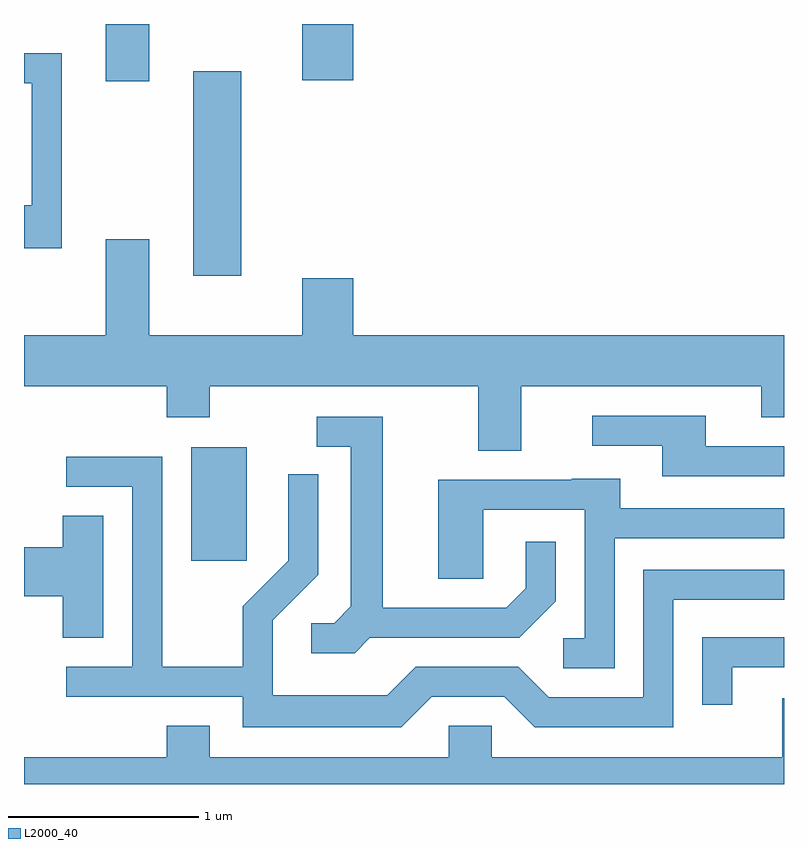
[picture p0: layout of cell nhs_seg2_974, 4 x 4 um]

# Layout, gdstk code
import gdstk
lib = gdstk.Library(unit=1e-6, precision=1e-09)
def R(c, l, rs):  # rectangles x0, y0, x1, y1
    for r in rs: c.add(gdstk.rectangle(r[:2], r[2:], *l))
def P(c, l, *ps):  # polygons
    for p in ps: c.add(gdstk.Polygon(p, *l))
L2000_40 = (2000, 40)

nhs_seg2_974 = lib.new_cell('nhs_seg2_974')
R(nhs_seg2_974, L2000_40, [(214.491,1022.976,214.784,1023.574), (214.501,1024.476,214.754,1025.554), (214.041,1025.501,214.269,1025.802), (215.076,1025.506,215.344,1025.802)])
P(nhs_seg2_974, L2000_40, [(213.809,1025.649),(213.611,1025.649),(213.611,1025.491),(213.651,1025.491),(213.651,1024.849),(213.611,1024.849),(213.611,1024.621),(213.809,1024.621)],
  [(216.229,1023.896),(217.491,1023.896),(217.491,1023.731),(217.611,1023.731),(217.611,1024.164),(215.344,1024.164),(215.344,1024.464),(215.076,1024.464),(215.076,1024.164),(214.269,1024.164),(214.269,1024.669),(214.041,1024.669),(214.041,1024.164),(213.611,1024.164),(213.611,1023.896),(214.361,1023.896),(214.361,1023.731),(214.589,1023.731),(214.589,1023.896),(216.001,1023.896),(216.001,1023.556),(216.229,1023.556)],
  [(217.611,1023.579),(217.199,1023.579),(217.199,1023.739),(216.603,1023.739),(216.603,1023.581),(216.971,1023.581),(216.971,1023.421),(217.611,1023.421)],
  [(215.432,1022.571),(216.217,1022.571),(216.409,1022.764),(216.409,1023.078),(216.251,1023.078),(216.251,1022.832),(216.149,1022.729),(215.499,1022.729),(215.499,1023.734),(215.153,1023.734),(215.153,1023.576),(215.331,1023.576),(215.331,1022.737),(215.244,1022.649),(215.123,1022.649),(215.123,1022.491),(215.352,1022.491)],
  [(215.757,1022.261),(216.139,1022.261),(216.299,1022.101),(217.029,1022.101),(217.029,1022.771),(217.611,1022.771),(217.611,1022.929),(216.871,1022.929),(216.871,1022.259),(216.372,1022.259),(216.212,1022.419),(215.674,1022.419),(215.524,1022.269),(214.919,1022.269),(214.919,1022.664),(215.159,1022.904),(215.159,1023.433),(215.001,1023.433),(215.001,1022.977),(214.761,1022.737),(214.761,1022.419),(214.339,1022.419),(214.339,1023.524),(213.833,1023.524),(213.833,1023.366),(214.181,1023.366),(214.181,1022.419),(213.833,1022.419),(213.833,1022.261),(214.761,1022.261),(214.761,1022.101),(215.597,1022.101)],
  [(216.719,1023.096),(217.611,1023.096),(217.611,1023.254),(216.749,1023.254),(216.749,1023.409),(216.495,1023.409),(216.495,1023.404),(215.791,1023.404),(215.791,1022.881),(216.029,1022.881),(216.029,1023.246),(216.561,1023.246),(216.561,1022.569),(216.448,1022.569),(216.448,1022.411),(216.719,1022.411)],
  [(214.029,1023.214),(213.816,1023.214),(213.816,1023.049),(213.611,1023.049),(213.611,1022.791),(213.816,1022.791),(213.816,1022.571),(214.029,1022.571)],
  [(217.339,1022.416),(217.611,1022.416),(217.611,1022.574),(217.181,1022.574),(217.181,1022.218),(217.339,1022.218)],
  [(217.611,1022.254),(217.601,1022.254),(217.601,1021.944),(216.074,1021.944),(216.074,1022.109),(215.846,1022.109),(215.846,1021.944),(214.589,1021.944),(214.589,1022.109),(214.361,1022.109),(214.361,1021.944),(213.611,1021.944),(213.611,1021.802),(217.611,1021.802)])

lib.write_gds('nhs_seg2_974.gds')
